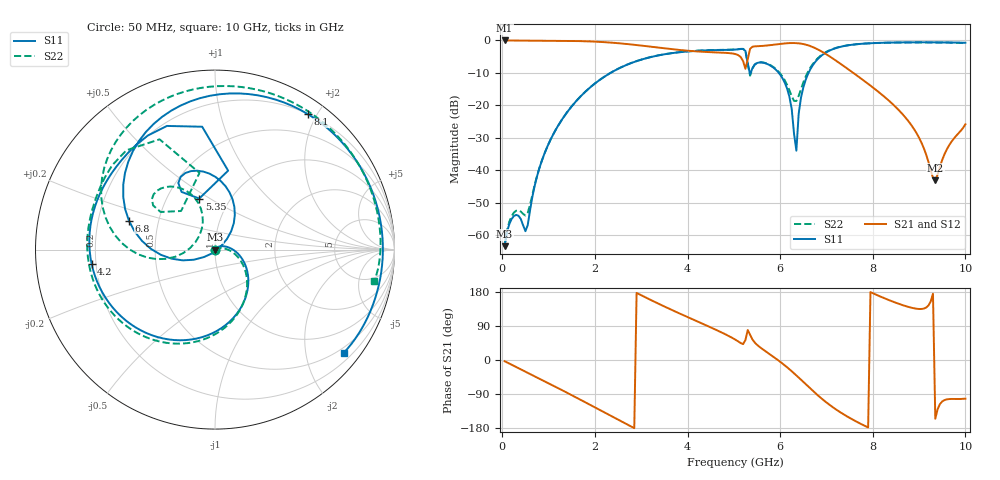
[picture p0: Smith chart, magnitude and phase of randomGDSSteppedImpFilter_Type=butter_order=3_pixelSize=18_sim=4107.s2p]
! freq	dB(S11)	phase(S11)	dB(S12)	phase(S12)
!  dB(S21)	phase(S21)	dB(S22)	phase(S22)
!S-par simulation data
#  GHz  S  DB  R 50
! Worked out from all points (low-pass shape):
!   200 points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, 50 MHz to 10 GHz, reference 50 ohm
!   highest |S21| = -0.01 dB at 50 MHz (marker M1); lowest = -43.1 dB at 9.35 GHz (marker M2)
!   |S21| within 3 dB of the highest: start of sweep to 3.876 GHz; 5.344 GHz to 6.845 GHz (1.501 GHz wide, 24.6 % of centre)
!   lowest |S11| = -63.4 dB at 50 MHz (marker M3), VSWR 1.00, Z = 50.1 - j0.0404 ohm
!   |S11| at or under -10 dB: start of sweep to 2.338 GHz; 5.342577 GHz to 5.363525 GHz (20.95 MHz wide, 0.391 % of centre); 5.97 GHz to 6.613 GHz (643.7 MHz wide, 10.2 % of centre)
!   |S22| runs from -63.2 to -0.6 dB; largest |S21 - S12| = 0
!   S11 on the Smith chart (normalised r, x): 50 MHz: 1.00, -0.00; 4.2 GHz: 0.18, -0.06; 5.35 GHz: 0.72, +0.45; 6.8 GHz: 0.34, +0.15; 8.1 GHz: 0.20, +1.88; 10 GHz: 0.38, -2.80
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0.05  -63.42 -36.7  -0.01 -3.1  -0.01 -3.1  -63.15 -34.4
0.25  -54.12 -97.2  -0.03 -15.4  -0.03 -15.4  -53.07 -77.8
0.5  -58.80 176.8  -0.04 -30.6  -0.04 -30.6  -53.97 -46.8
0.95  -33.49 43.2  -0.08 -58.3  -0.08 -58.3  -33.50 19.0
1.75  -16.40 -16.5  -0.24 -108.9  -0.24 -108.9  -16.39 -22.4
2.55  -8.40 -71.8  -0.91 -160.8  -0.91 -160.8  -8.38 -71.1
3.4  -4.53 -126.6  -2.27 147.0  -2.27 147.0  -4.51 -120.2
4.2  -3.20 -173.4  -3.39 102.5  -3.39 102.5  -3.17 -161.4
5.05  -2.80 132.0  -4.27 52.4  -4.27 52.4  -2.76 151.3
5.25  -3.24 96.0  -8.75 52.6  -8.75 52.6  -3.25 116.7
5.35  -10.52 107.1  -2.60 66.7  -2.60 66.7  -10.86 131.3
6.05  -11.64 65.7  -0.99 -9.4  -0.99 -9.4  -11.14 109.8
6.2  -17.35 48.5  -0.82 -24.4  -0.82 -24.4  -15.36 113.4
6.35  -33.98 -117.6  -0.83 -40.6  -0.83 -40.6  -18.68 159.2
6.45  -17.65 -154.4  -0.99 -52.0  -0.99 -52.0  -14.98 -173.7
6.7  -7.75 173.2  -2.01 -80.7  -2.01 -80.7  -7.36 -176.5
6.8  -5.91 161.4  -2.67 -91.8  -2.67 -91.8  -5.66 175.9
7.45  -1.55 99.5  -8.68 -149.2  -8.68 -149.2  -1.51 125.9
8.1  -0.77 55.5  -15.60 170.8  -15.60 170.8  -0.79 86.4
8.35  -0.67 40.9  -18.59 158.1  -18.59 158.1  -0.70 72.7
9.35  -0.59 -10.1  -43.08 -155.2  -43.08 -155.2  -0.64 20.8
10  -0.73 -38.7  -25.85 -102.2  -25.85 -102.2  -0.87 -11.1
